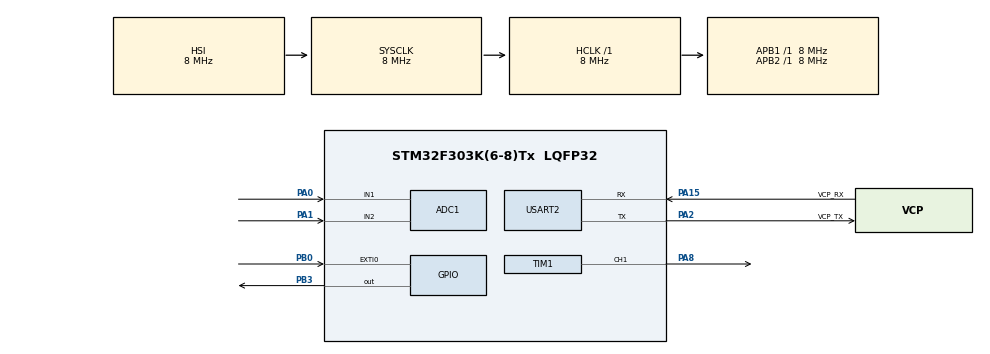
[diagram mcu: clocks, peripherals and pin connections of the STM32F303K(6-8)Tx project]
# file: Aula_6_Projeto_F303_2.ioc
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ADC1.Channel-0\#ChannelRegularConversion=ADC_CHANNEL_1
ADC1.Channel-2\#ChannelRegularConversion=ADC_CHANNEL_2
ADC1.ClockPrescaler=ADC_CLOCK_SYNC_PCLK_DIV4
ADC1.ContinuousConvMode=ENABLE
ADC1.DMAContinuousRequests=ENABLE
ADC1.NbrOfConversion=2
ADC1.NbrOfConversionFlag=1
ADC1.Offset-0\#ChannelRegularConversion=0
ADC1.Offset-2\#ChannelRegularConversion=0
ADC1.OffsetNumber-0\#ChannelRegularConversion=ADC_OFFSET_NONE
ADC1.OffsetNumber-2\#ChannelRegularConversion=ADC_OFFSET_NONE
ADC1.Rank-0\#ChannelRegularConversion=1
ADC1.Rank-2\#ChannelRegularConversion=2
ADC1.SamplingTime-0\#ChannelRegularConversion=ADC_SAMPLETIME_61CYCLES_5
ADC1.SamplingTime-2\#ChannelRegularConversion=ADC_SAMPLETIME_61CYCLES_5
ADC1.SamplingTimeOPAMP-2\#ChannelRegularConversion=ADC_SAMPLETIME_7CYCLES_5
ADC1.SubFamily=STM32F303x8
ADC1.master=1
Dma.ADC1.0.Direction=DMA_PERIPH_TO_MEMORY
Dma.ADC1.0.Instance=DMA1_Channel1
Dma.ADC1.0.MemDataAlignment=DMA_MDATAALIGN_WORD
Dma.ADC1.0.MemInc=DMA_MINC_ENABLE
Dma.ADC1.0.Mode=DMA_CIRCULAR
Dma.ADC1.0.PeriphDataAlignment=DMA_PDATAALIGN_WORD
Dma.ADC1.0.PeriphInc=DMA_PINC_DISABLE
Dma.ADC1.0.Priority=DMA_PRIORITY_LOW
Dma.Request0=ADC1
Mcu.Family=STM32F3
Mcu.Name=STM32F303K(6-8)Tx
Mcu.Package=LQFP32
NVIC.ADC1_2_IRQn=true\:0\:0\:false\:false\:true\:true\:true\:true
NVIC.DMA1_Channel1_IRQn=true\:0\:0\:false\:false\:true\:false\:true\:true
NVIC.EXTI0_IRQn=true\:0\:0\:false\:false\:true\:true\:true\:true
NVIC.PriorityGroup=NVIC_PRIORITYGROUP_4
PA0.Mode=IN1-Single-Ended
PA0.Signal=ADC1_IN1
PA1.Mode=IN2-Single-Ended
PA1.Signal=ADC1_IN2
PA13.GPIO_Label=SWDIO
PA13.Mode=Serial_Wire
PA13.Signal=SYS_JTMS-SWDIO
PA14.GPIO_Label=SWCLK
PA14.Mode=Serial_Wire
PA14.Signal=SYS_JTCK-SWCLK
PA15.GPIO_Label=VCP_RX
PA15.Mode=Asynchronous
PA15.Signal=USART2_RX
PA2.GPIO_Label=VCP_TX
PA2.Mode=Asynchronous
PA2.Signal=USART2_TX
PA8.Signal=S_TIM1_CH1
PB0.Signal=GPXTI0
PB3.Signal=GPIO_Output
PF0\ /\ OSC_IN.GPIO_Label=MCO
PF0\ /\ OSC_IN.Mode=HSE-External-Clock-Source
PF0\ /\ OSC_IN.Signal=RCC_OSC_IN
ProjectManager.HeapSize=0x200
ProjectManager.StackSize=0x400
ProjectManager.TargetToolchain=STM32CubeIDE
RCC.AHBFreq_Value=8000000
RCC.APB1Freq_Value=8000000
RCC.APB2Freq_Value=8000000
RCC.CortexFreq_Value=8000000
RCC.HSE_VALUE=8000000
RCC.HSI_VALUE=8000000
RCC.PLLMUL=RCC_PLL_MUL4
RCC.SYSCLKFreq_VALUE=8000000
SH.S_TIM1_CH1.0=TIM1_CH1,PWM Generation1 CH1
TIM1.Channel-PWM\ Generation1\ CH1=TIM_CHANNEL_1
TIM1.OCFastMode_PWM-PWM\ Generation1\ CH1=TIM_OCFAST_ENABLE
TIM1.Period=1000
TIM1.Prescaler=7
USART2.VirtualMode-Asynchronous=VM_ASYNC
VP_TIM1_VS_ClockSourceINT.Mode=Internal
board=NUCLEO-F303K8

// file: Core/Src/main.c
/* USER CODE BEGIN Header */
/**
  ******************************************************************************
  * @file           : main.c
  * @brief          : Main program body
  ******************************************************************************
  * @attention
  *
  * Copyright (c) 2024 STMicroelectronics.
  * All rights reserved.
  *
  * This software is licensed under terms that can be found in the LICENSE file
  * in the root directory of this software component.
  * If no LICENSE file comes with this software, it is provided AS-IS.
  *
  ******************************************************************************
  */
/* USER CODE END Header */
#include "main.h"
#include "adc.h"
#include "dma.h"
#include "tim.h"
#include "usart.h"
#include "gpio.h"

#include "button.h"
#include "leds.h"
#include "adc_service.h"

/* USER CODE BEGIN PD */

#define LDR_THRESHOLD 2000

/* USER CODE END PD */

/* USER CODE BEGIN PV */

float led_intensity = 0.5;
/* USER CODE END PV */

void SystemClock_Config(void);

int main(void)
{

  /* MCU Configuration--------------------------------------------------------*/

  /* Reset of all peripherals, Initializes the Flash interface and the Systick. */
  HAL_Init();

  /* Configure the system clock */
  SystemClock_Config();

  /* Initialize all configured peripherals */
  MX_GPIO_Init();
  MX_DMA_Init();
  MX_USART2_UART_Init();
  MX_ADC1_Init();
  MX_TIM1_Init();
  /* USER CODE BEGIN 2 */
  led_init();
  adc_start();

  /* USER CODE END 2 */

  /* Infinite loop */
  while (1)
  {

    /* USER CODE BEGIN 3 */

	  if (button_current_mode() == MODE_OPERATION){
		  set_board_led(1);
		  if(get_ldr_val() > LDR_THRESHOLD){
			  set_led(led_intensity);
		  } else {
			  set_led(0);
		  }
	  } else {
		  set_board_led(0);
		  led_intensity = get_potentiometer_percentage();
		  set_led(led_intensity);
	  }

	  HAL_Delay(100);
  }
  /* USER CODE END 3 */
}

void SystemClock_Config(void)
{
  RCC_OscInitTypeDef RCC_OscInitStruct = {0};
  RCC_ClkInitTypeDef RCC_ClkInitStruct = {0};
  RCC_PeriphCLKInitTypeDef PeriphClkInit = {0};

  /** Initializes the RCC Oscillators according to the specified parameters
  * in the RCC_OscInitTypeDef structure.
  */
  RCC_OscInitStruct.OscillatorType = RCC_OSCILLATORTYPE_HSI;
  RCC_OscInitStruct.HSIState = RCC_HSI_ON;
  RCC_OscInitStruct.HSICalibrationValue = RCC_HSICALIBRATION_DEFAULT;
  RCC_OscInitStruct.PLL.PLLState = RCC_PLL_NONE;
  if (HAL_RCC_OscConfig(&RCC_OscInitStruct) != HAL_OK)
  {
    Error_Handler();
  }

  /** Initializes the CPU, AHB and APB buses clocks
  */
  RCC_ClkInitStruct.ClockType = RCC_CLOCKTYPE_HCLK|RCC_CLOCKTYPE_SYSCLK
                              |RCC_CLOCKTYPE_PCLK1|RCC_CLOCKTYPE_PCLK2;
  RCC_ClkInitStruct.SYSCLKSource = RCC_SYSCLKSOURCE_HSI;
  RCC_ClkInitStruct.AHBCLKDivider = RCC_SYSCLK_DIV1;
  RCC_ClkInitStruct.APB1CLKDivider = RCC_HCLK_DIV1;
  RCC_ClkInitStruct.APB2CLKDivider = RCC_HCLK_DIV1;

  if (HAL_RCC_ClockConfig(&RCC_ClkInitStruct, FLASH_LATENCY_0) != HAL_OK)
  {
    Error_Handler();
  }
  PeriphClkInit.PeriphClockSelection = RCC_PERIPHCLK_TIM1;
  PeriphClkInit.Tim1ClockSelection = RCC_TIM1CLK_HCLK;
  if (HAL_RCCEx_PeriphCLKConfig(&PeriphClkInit) != HAL_OK)
  {
    Error_Handler();
  }
}

void Error_Handler(void)
{
  __disable_irq();
  while (1)
  {
  }
}
